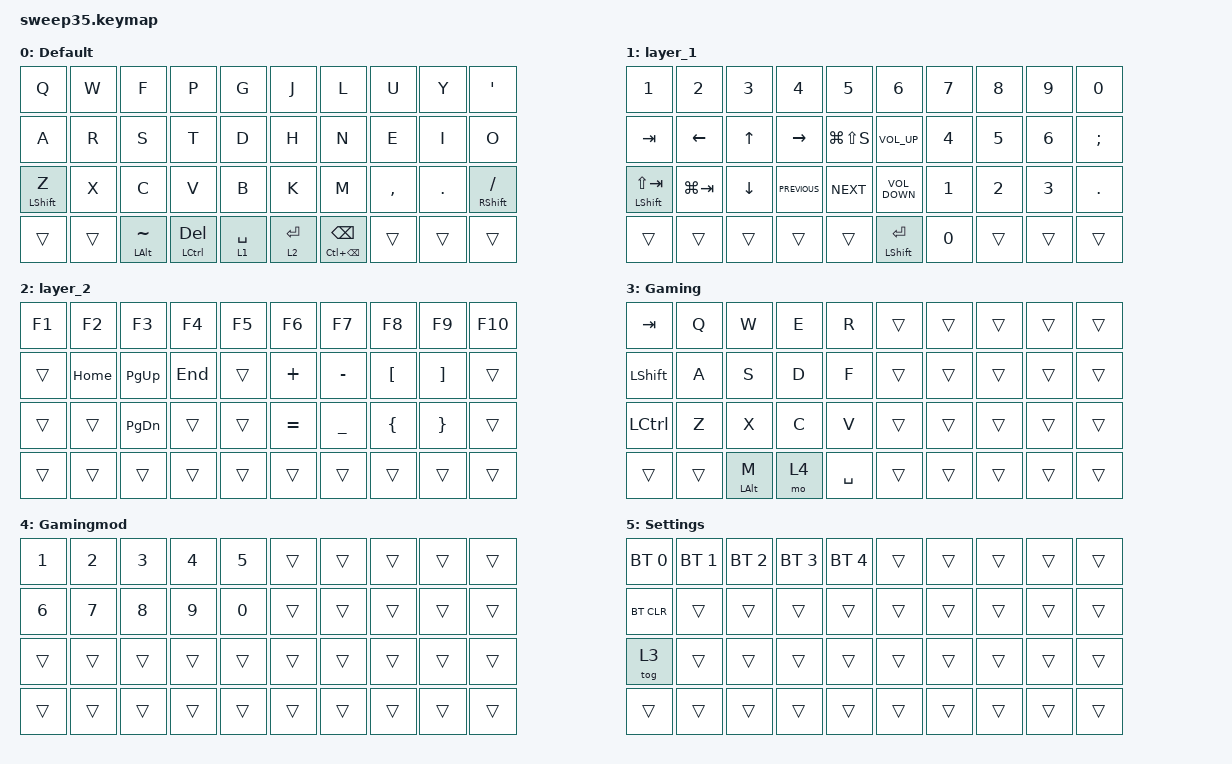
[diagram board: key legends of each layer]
#include <behaviors.dtsi>
#include <dt-bindings/zmk/bt.h>
#include <dt-bindings/zmk/keys.h>
#include <physical_layouts.dtsi>

/ {
    combos {
        compatible = "zmk,combos";
        timeout-ms = <50>;

        Settingsmenu {
            bindings = <&mo 5>;
            key-positions = <15 16 17>;
            layers = <0>;
        };

        Escape {
            bindings = <&kp ESCAPE>;
            key-positions = <0 1>;
            layers = <0>;
        };
        Studio {
            bindings = <&studio_unlock>;
            key-positions = <0 4 17>;
            layers = <0>;
        };
    };

    keymap {
        compatible = "zmk,keymap";

        Default {
            bindings = <
  &kp Q             &kp W  &kp F           &kp P             &kp G          &kp J        &kp L                   &kp U      &kp Y    &kp APOS
  &kp A             &kp R  &kp S           &kp T             &kp D          &kp H        &kp N                   &kp E      &kp I    &kp O
  &mt LEFT_SHIFT Z  &kp X  &kp C           &kp V             &kp B          &kp K        &kp M                   &kp COMMA  &kp DOT  &mt RIGHT_SHIFT FSLH
  &trans            &trans &mt LALT TILDE  &mt LCTRL DELETE  &lt 1 SPACE    &lt 2 ENTER  &mt LC(BSPC) BACKSPACE  &trans     &trans   &trans
            >;

        };

        layer_1 {
            bindings = <
  &kp N1                  &kp N2       &kp N3    &kp N4          &kp N5           &kp N6                &kp N7  &kp N8  &kp N9  &kp N0
  &kp TAB                 &kp LEFT     &kp UP    &kp RIGHT       &kp LG(LS(S))    &kp C_VOLUME_UP       &kp N4  &kp N5  &kp N6  &kp SEMI
  &mt LEFT_SHIFT LS(TAB)  &kp LG(TAB)  &kp DOWN  &kp C_PREVIOUS  &kp C_NEXT       &kp C_VOLUME_DOWN     &kp N1  &kp N2  &kp N3  &kp DOT
  &trans                  &trans       &trans    &trans          &trans           &mt LEFT_SHIFT ENTER  &kp N0  &trans  &trans  &trans
            >;

        };

        layer_2 {
            bindings = <
  &kp F1  &kp F2    &kp F3         &kp F4   &kp F5    &kp F6     &kp F7          &kp F8          &kp F9           &kp F10
  &trans  &kp HOME  &kp PAGE_UP    &kp END  &trans    &kp PLUS   &kp MINUS       &kp LBKT        &kp RBKT         &trans
  &trans  &trans    &kp PAGE_DOWN  &trans   &trans    &kp EQUAL  &kp UNDERSCORE  &kp LEFT_BRACE  &kp RIGHT_BRACE  &trans
  &trans  &trans    &trans         &trans   &trans    &trans     &trans          &trans          &trans           &trans
            >;

        };

        Gaming {
            bindings = <
  &kp TAB    &kp Q  &kp W           &kp E  &kp R        &trans  &trans  &trans  &trans  &trans
  &kp LSHFT  &kp A  &kp S           &kp D  &kp F        &trans  &trans  &trans  &trans  &trans
  &kp LCTRL  &kp Z  &kp X           &kp C  &kp V        &trans  &trans  &trans  &trans  &trans
  &trans     &trans &mt LEFT_ALT M  &mo 4  &kp SPACE    &trans  &trans  &trans  &trans  &trans
            >;

        };

        Gamingmod {
            bindings = <
  &kp NUMBER_1  &kp NUMBER_2  &kp NUMBER_3  &kp NUMBER_4  &kp N5    &trans  &trans  &trans  &trans  &trans
  &kp NUMBER_6  &kp N7        &kp N8        &kp N9        &kp N0    &trans  &trans  &trans  &trans  &trans
  &trans        &trans        &trans        &trans        &trans    &trans  &trans  &trans  &trans  &trans
  &trans        &trans        &trans        &trans        &trans    &trans  &trans  &trans  &trans  &trans
            >;

        };

        Settings {
            bindings = <
  &bt BT_SEL 0  &bt BT_SEL 1  &bt BT_SEL 2  &bt BT_SEL 3  &bt BT_SEL 4    &trans  &trans  &trans  &trans  &trans
  &bt BT_CLR    &trans        &trans        &trans        &trans          &trans  &trans  &trans  &trans  &trans
  &tog 3        &trans        &trans        &trans        &trans          &trans  &trans  &trans  &trans  &trans
  &trans        &trans        &trans        &trans        &trans          &trans  &trans  &trans  &trans  &trans
            >;

        };
    };

    sweep35_physical_layout: physical_layout {
        compatible = "zmk,physical-layout";
        display-name = "sweep35";

        kscan = <&kscan0>;
        transform = <&default_transform>;

        keys = 
            <&key_physical_attrs 100 100    0  100       0     0     0>
          , <&key_physical_attrs 100 100  100   30       0     0     0>
          , <&key_physical_attrs 100 100  200    0       0     0     0>
          , <&key_physical_attrs 100 100  300   12       0     0     0>
          , <&key_physical_attrs 100 100  400   25       0     0     0>
          , <&key_physical_attrs 100 100    0  200       0     0     0>
          , <&key_physical_attrs 100 100  100  130       0     0     0>
          , <&key_physical_attrs 100 100  200  100       0     0     0>
          , <&key_physical_attrs 100 100  300  112       0     0     0>
          , <&key_physical_attrs 100 100  400  125       0     0     0>
          , <&key_physical_attrs 100 100    0  300       0     0     0>
          , <&key_physical_attrs 100 100  100  229       0     0     0>
          , <&key_physical_attrs 100 100  200  200       0     0     0>
          , <&key_physical_attrs 100 100  300  212       0     0     0>
          , <&key_physical_attrs 100 100  400  225       0     0     0>
          , <&key_physical_attrs 100 100  248  312       0     0     0>
          , <&key_physical_attrs 100 100  248  312    1500   298   789>
          , <&key_physical_attrs 100 100  248  312    3000   298   789>
          , <&key_physical_attrs 100 100 1200  100       0     0     0>
          , <&key_physical_attrs 100 100 1100   30       0     0     0>
          , <&key_physical_attrs 100 100 1000    0       0     0     0>
          , <&key_physical_attrs 100 100  900   12       0     0     0>
          , <&key_physical_attrs 100 100  800   25       0     0     0>
          , <&key_physical_attrs 100 100 1200  200       0     0     0>
          , <&key_physical_attrs 100 100 1100  130       0     0     0>
          , <&key_physical_attrs 100 100 1000  100       0     0     0>
          , <&key_physical_attrs 100 100  900  112       0     0     0>
          , <&key_physical_attrs 100 100  800  125       0     0     0>
          , <&key_physical_attrs 100 100 1200  300       0     0     0>
          , <&key_physical_attrs 100 100 1100  229       0     0     0>
          , <&key_physical_attrs 100 100 1000  200       0     0     0>
          , <&key_physical_attrs 100 100  900  212       0     0     0>
          , <&key_physical_attrs 100 100  800  225       0     0     0>
          , <&key_physical_attrs 100 100  952  312 (-1500)  1002   789>
          , <&key_physical_attrs 100 100  952  312 (-3000)  1002   789>;
    };

    sweep35_position_map {
        compatible = "zmk,physical-layout-position-map";
        complete;

        sweep35: sweep35 {
            physical-layout = <&sweep35_physical_layout>;

            positions =
                // Row 0 (left to right)
                <  0  1  2  3  4  22 21 20 19 18 >,
                // Row 1
                <  5  6  7  8  9  27 26 25 24 23 >,
                // Row 2
                < 10 11 12 13 14 32 31 30 29 28 >,
                // Row 3 (thumbs left + right) + padding
                <  0  0 15 16 17 34 33  0  0  0 >;
        };
    };
};
